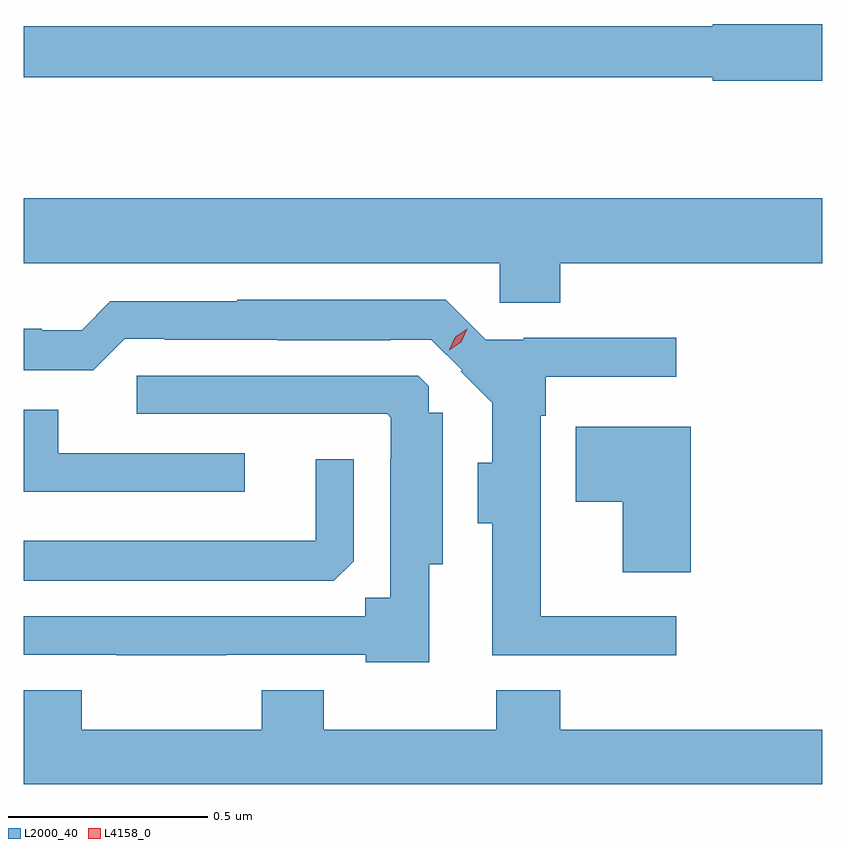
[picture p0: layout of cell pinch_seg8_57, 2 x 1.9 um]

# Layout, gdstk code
import gdstk
lib = gdstk.Library(unit=1e-6, precision=1e-09)
def P(c, l, *ps):  # polygons
    for p in ps: c.add(gdstk.Polygon(p, *l))
L2000_40 = (2000, 40)
L4158_0 = (4158, 0)

pinch_seg8_57 = lib.new_cell('pinch_seg8_57')
P(pinch_seg8_57, L2000_40, [(892.672,1105.112),(892.398,1105.112),(892.398,1105.106),(890.672,1105.106),(890.672,1104.978),(892.398,1104.978),(892.398,1104.97),(892.672,1104.97)],
  [(892.016,1104.512),(892.672,1104.512),(892.672,1104.676),(890.672,1104.676),(890.672,1104.512),(891.864,1104.512),(891.864,1104.414),(892.016,1104.414)],
  [(892.306,1103.628),(891.967,1103.628),(891.967,1104.131),(891.979,1104.131),(891.979,1104.228),(892.306,1104.228),(892.306,1104.326),(891.925,1104.326),(891.925,1104.321),(891.829,1104.321),(891.729,1104.421),(891.207,1104.421),(891.207,1104.417),(890.889,1104.417),(890.817,1104.345),(890.717,1104.345),(890.717,1104.349),(890.672,1104.349),(890.672,1104.245),(890.846,1104.245),(890.925,1104.324),(891.025,1104.324),(891.025,1104.321),(891.307,1104.321),(891.307,1104.32),(891.59,1104.32),(891.59,1104.321),(891.693,1104.321),(891.77,1104.245),(891.767,1104.242),(891.845,1104.163),(891.845,1104.013),(891.809,1104.013),(891.809,1103.861),(891.845,1103.861),(891.845,1103.531),(892.306,1103.531)],
  [(891.688,1103.759),(891.721,1103.759),(891.721,1104.138),(891.687,1104.138),(891.687,1104.204),(891.66,1104.231),(890.955,1104.231),(890.955,1104.135),(891.582,1104.135),(891.591,1104.126),(891.591,1104.023),(891.59,1104.023),(891.59,1103.675),(891.527,1103.675),(891.527,1103.628),(890.672,1103.628),(890.672,1103.532),(890.905,1103.532),(890.905,1103.531),(891.179,1103.531),(891.179,1103.532),(891.528,1103.532),(891.528,1103.513),(891.688,1103.513)],
  [(891.226,1104.036),(890.758,1104.036),(890.758,1104.145),(890.672,1104.145),(890.672,1103.94),(891.226,1103.94)],
  [(892.343,1104.103),(892.055,1104.103),(892.055,1103.915),(892.172,1103.915),(892.172,1103.738),(892.343,1103.738)],
  [(891.498,1103.766),(891.498,1104.022),(891.403,1104.022),(891.403,1103.818),(890.672,1103.818),(890.672,1103.717),(891.449,1103.717)],
  [(892.672,1103.344),(892.016,1103.344),(892.016,1103.443),(891.856,1103.443),(891.856,1103.344),(891.423,1103.344),(891.423,1103.443),(891.268,1103.443),(891.268,1103.344),(890.817,1103.344),(890.817,1103.443),(890.672,1103.443),(890.672,1103.208),(892.672,1103.208)])
P(pinch_seg8_57, L4158_0, [(891.738,1104.295),(891.738,1104.296),(891.753,1104.328),(891.783,1104.348),(891.783,1104.348),(891.783,1104.348),(891.768,1104.315),(891.738,1104.295)])

lib.write_gds('pinch_seg8_57.gds')
